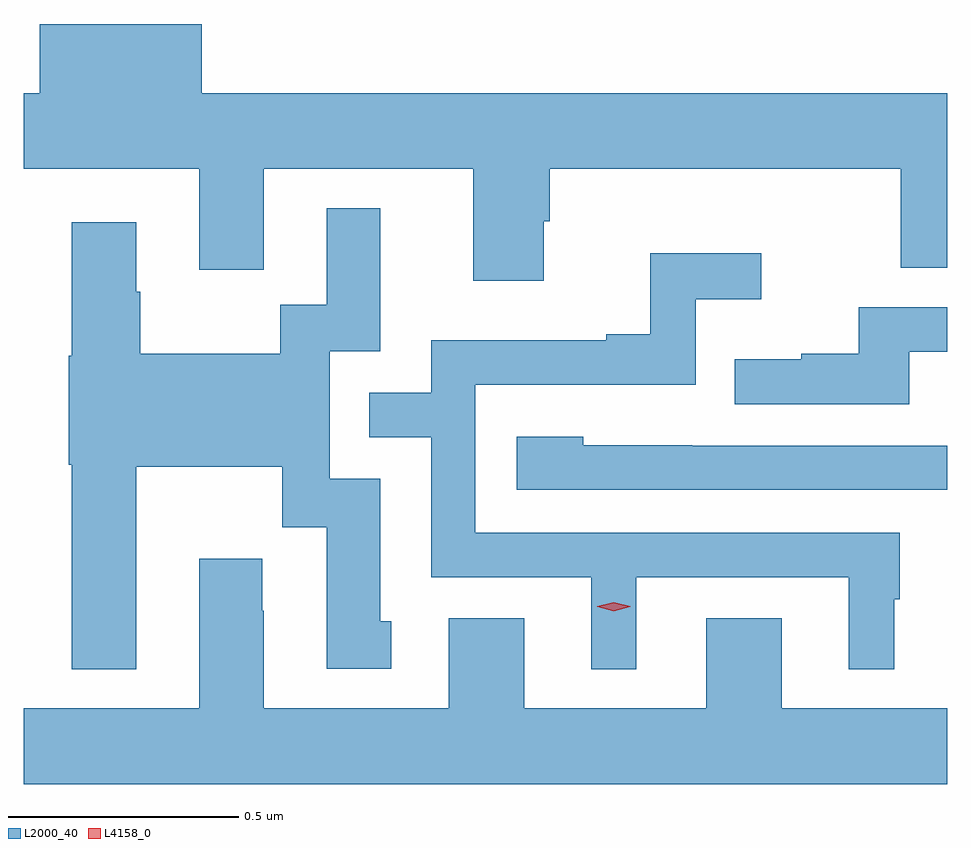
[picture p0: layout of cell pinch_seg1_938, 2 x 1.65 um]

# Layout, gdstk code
import gdstk
lib = gdstk.Library(unit=1e-6, precision=1e-09)
def P(c, l, *ps):  # polygons
    for p in ps: c.add(gdstk.Polygon(p, *l))
L2000_40 = (2000, 40)
L4158_0 = (4158, 0)

pinch_seg1_938 = lib.new_cell('pinch_seg1_938')
P(pinch_seg1_938, L2000_40, [(319.855,582.255),(319.868,582.255),(319.868,582.368),(320.628,582.368),(320.628,582.154),(320.729,582.154),(320.729,582.532),(319.114,582.532),(319.114,582.682),(318.764,582.682),(318.764,582.532),(318.729,582.532),(318.729,582.368),(319.109,582.368),(319.109,582.15),(319.249,582.15),(319.249,582.368),(319.703,582.368),(319.703,582.126),(319.855,582.126)],
  [(318.973,581.723),(319.289,581.723),(319.289,581.592),(319.385,581.592),(319.385,581.286),(319.525,581.286),(319.525,581.388),(319.501,581.388),(319.501,581.697),(319.392,581.697),(319.392,581.973),(319.501,581.973),(319.501,582.283),(319.385,582.283),(319.385,582.074),(319.284,582.074),(319.284,581.968),(318.981,581.968),(318.981,582.102),(318.973,582.102),(318.973,582.253),(318.833,582.253),(318.833,581.964),(318.826,581.964),(318.826,581.727),(318.833,581.727),(318.833,581.285),(318.973,581.285)],
  [(320.056,581.484),(320.516,581.484),(320.516,581.285),(320.614,581.285),(320.614,581.436),(320.626,581.436),(320.626,581.58),(319.707,581.58),(319.707,581.901),(320.184,581.901),(320.184,582.086),(320.326,582.086),(320.326,582.185),(320.086,582.185),(320.086,582.01),(319.991,582.01),(319.991,581.997),(319.611,581.997),(319.611,581.883),(319.477,581.883),(319.477,581.787),(319.611,581.787),(319.611,581.484),(319.958,581.484),(319.958,581.285),(320.056,581.285)],
  [(320.647,581.972),(320.729,581.972),(320.729,582.069),(320.537,582.069),(320.537,581.968),(320.413,581.968),(320.413,581.956),(320.269,581.956),(320.269,581.859),(320.647,581.859)],
  [(320.729,581.769),(320.177,581.769),(320.177,581.77),(319.941,581.77),(319.941,581.788),(319.797,581.788),(319.797,581.673),(320.729,581.673)],
  [(320.729,581.2),(320.371,581.2),(320.371,581.395),(320.207,581.395),(320.207,581.2),(319.813,581.2),(319.813,581.395),(319.649,581.395),(319.649,581.2),(319.249,581.2),(319.249,581.411),(319.246,581.411),(319.246,581.524),(319.109,581.524),(319.109,581.2),(318.729,581.2),(318.729,581.036),(320.729,581.036)])
P(pinch_seg1_938, L4158_0, [(320.007,581.41),(319.971,581.42),(319.971,581.42),(319.971,581.421),(320.007,581.43),(320.042,581.421),(320.043,581.42),(320.042,581.42)])

lib.write_gds('pinch_seg1_938.gds')
